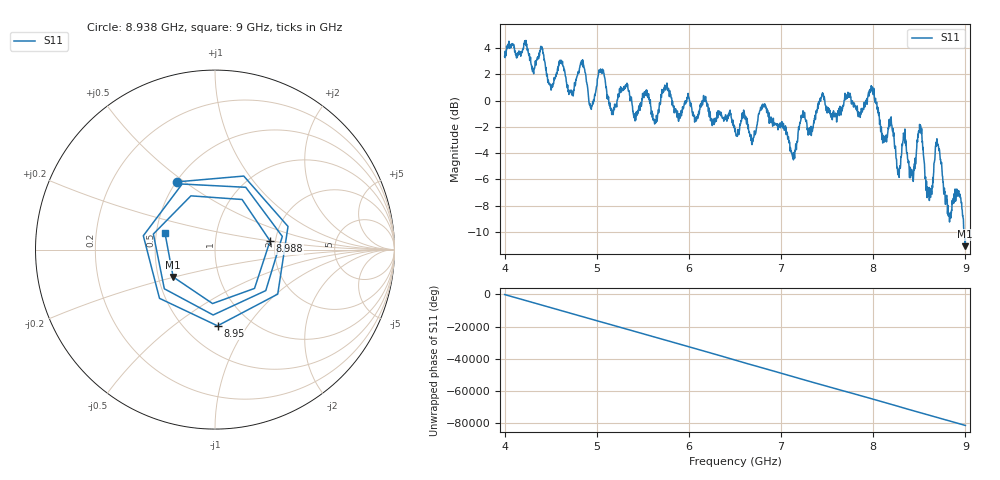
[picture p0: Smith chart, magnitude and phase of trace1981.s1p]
! Created with skrf 1.8.0 (http://scikit-rf.org).
# Hz S RI R 50.0
!freq ReS11 ImS11
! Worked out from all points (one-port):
!   1601 points, 4 GHz to 9 GHz, reference 50 ohm
!   lowest |S11| = -11.1 dB at 8.997 GHz (marker M1), VSWR 1.77, Z = 29.9 - j9.86 ohm
!   |S11| at or under -10 dB: 8.984663 GHz to end of sweep
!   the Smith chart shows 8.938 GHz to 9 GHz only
!   S11 on the Smith chart (normalised r, x): 8.938 GHz: 0.51, +0.47; 8.95 GHz: 0.71, -0.74; 8.988 GHz: 1.87, +0.20; 9 GHz: 0.56, +0.11
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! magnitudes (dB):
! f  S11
! 4 GHz  3.4
! 4.503 GHz  0.8
! 4.625 GHz  2.8
! 4.722 GHz  0.8
! 4.844 GHz  2.7
! 4.938 GHz  -0.5
! 5.047 GHz  2.3
! 5.156 GHz  -0.6
! 5.25 GHz  0.7
! 5.875 GHz  -0.8
! 6.5 GHz  -2.4
! 6.816 GHz  -0.5
! 7.125 GHz  -4.3
! 7.438 GHz  0.2
! 7.75 GHz  0.6
! 7.984 GHz  0.8
! 8.272 GHz  -5.3
! 8.375 GHz  -4.5
! 8.425 GHz  -5.4
! 8.509 GHz  -1.9
! 8.597 GHz  -7.0
! 8.697 GHz  -3.3
! 8.825 GHz  -8.6
! 8.938 GHz  -7.3
! 8.95 GHz  -7.4
! 8.988 GHz  -10.2
! 8.997 GHz  -11.1
! 9 GHz  -10.6
